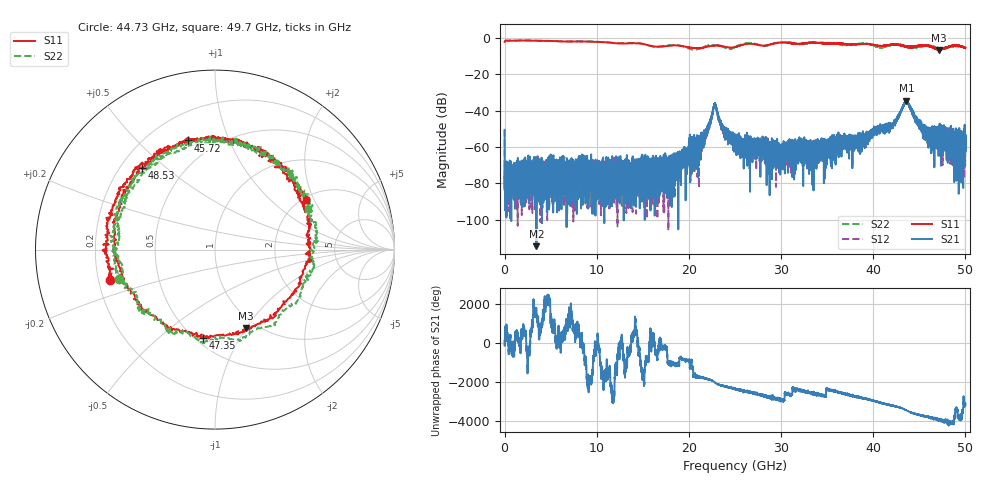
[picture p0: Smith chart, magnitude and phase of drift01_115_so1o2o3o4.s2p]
!Created with skrf (http://scikit-rf.org).
# Hz S RI R 50.0
!freq ReS11 ImS11 ReS21 ImS21 ReS12 ImS12 ReS22 ImS22
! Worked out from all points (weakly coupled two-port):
!   10001 points, 300 kHz to 50 GHz, reference 50 ohm
!   highest |S21| = -34.49 dB at 43.61 GHz (marker M1); lowest = -114.7 dB at 3.455 GHz (marker M2)
!   lowest |S11| = -6.5 dB at 47.15 GHz (marker M3), VSWR 2.78, Z = 44.3 - j49.9 ohm
!   |S11| at or under -10 dB: nowhere
!   |S22| runs from -6.4 to -1.4 dB; largest |S21 - S12| = 0.004
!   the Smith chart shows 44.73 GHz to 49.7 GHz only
!   S11 on the Smith chart (normalised r, x): 44.73 GHz: 0.25, -0.13; 45.72 GHz: 0.36, +0.72; 47.35 GHz: 0.55, -0.71; 48.53 GHz: 0.28, +0.42; 49.7 GHz: 2.11, +1.73
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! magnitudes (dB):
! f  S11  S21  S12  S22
! 300 kHz  -2.1  -51.2  -50.0  -2.1
! 255.3 MHz  -1.4  -89.6  -80.3  -1.4
! 3.455 GHz  -1.5  -114.7  -78.7  -1.5
! 8.335 GHz  -1.9  -72.9  -84.1  -1.8
! 16.67 GHz  -4.8  -73.4  -75.1  -4.8
! 17.76 GHz  -4.3  -68.8  -65.6  -4.1
! 20.84 GHz  -5.6  -55.3  -58.1  -6.2
! 21.7 GHz  -5.2  -51.9  -52.5  -4.9
! 22.8 GHz  -4.3  -36.3  -36.2  -4.0
! 23.77 GHz  -4.6  -51.9  -52.7  -5.0
! 25 GHz  -5.0  -55.7  -56.8  -5.1
! 29.98 GHz  -2.6  -62.3  -65.8  -2.3
! 33.34 GHz  -2.6  -57.9  -58.6  -2.6
! 41.67 GHz  -3.9  -47.9  -48.6  -4.1
! 43.61 GHz  -4.7  -34.5  -35.2  -4.7
! 44.73 GHz  -4.3  -45.8  -45.0  -5.0
! 45.72 GHz  -4.1  -55.3  -51.4  -4.1
! 47.15 GHz  -6.5  -55.9  -51.8  -6.0
! 47.35 GHz  -6.1  -65.4  -53.4  -6.2
! 48.53 GHz  -4.3  -59.1  -58.9  -4.6
! 49.7 GHz  -4.8  -55.8  -57.7  -4.9
! 50 GHz  -5.4  -62.8  -55.1  -5.3
